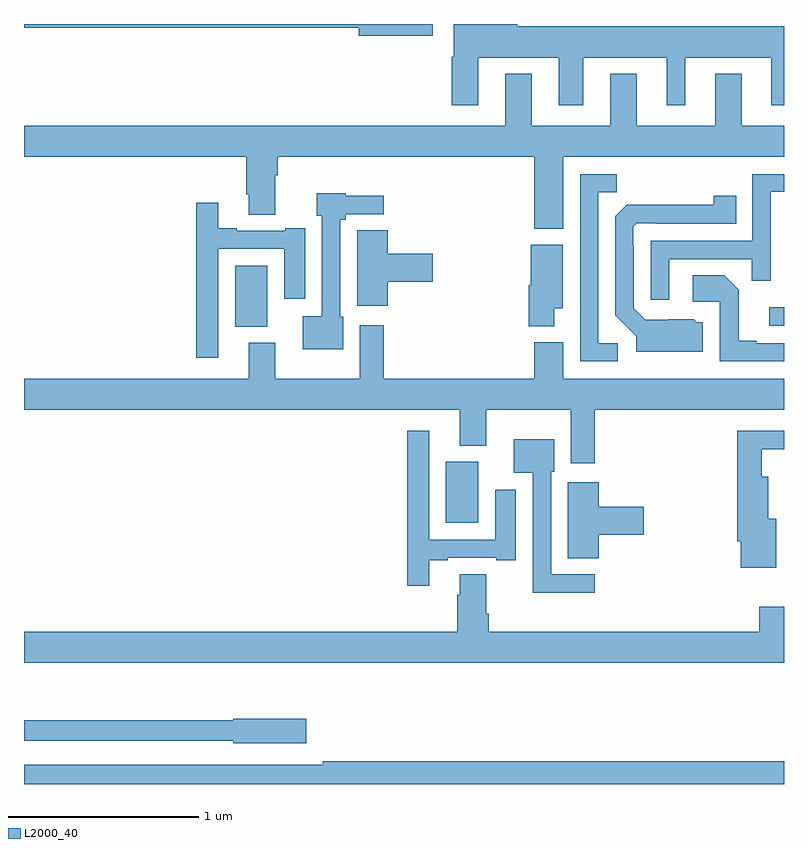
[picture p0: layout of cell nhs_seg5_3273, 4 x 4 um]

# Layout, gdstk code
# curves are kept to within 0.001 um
import gdstk
lib = gdstk.Library(unit=1e-6, precision=1e-09)
def R(c, l, rs):  # rectangles x0, y0, x1, y1
    for r in rs: c.add(gdstk.rectangle(r[:2], r[2:], *l))
def P(c, l, *ps):  # polygons
    for p in ps: c.add(gdstk.Polygon(p, *l))
L2000_40 = (2000, 40)

nhs_seg5_3273 = lib.new_cell('nhs_seg5_3273')
R(nhs_seg5_3273, L2000_40, [(303.221,848.174,303.391,848.494), (302.111,849.206,302.281,849.526), (304.923,849.21,305,849.307)])
P(nhs_seg5_3273, L2000_40, [(303.151,850.799),(301,850.799),(301,850.78),(302.762,850.78),(302.762,850.738),(303.151,850.738)],
  [(303.391,850.622),(303.815,850.622),(303.815,850.371),(303.943,850.371),(303.943,850.622),(304.382,850.622),(304.382,850.371),(304.48,850.371),(304.48,850.622),(304.934,850.622),(304.934,850.371),(305,850.371),(305,850.786),(303.595,850.786),(303.595,850.799),(303.263,850.799),(303.263,850.626),(303.251,850.626),(303.251,850.371),(303.391,850.371)],
  [(303.838,850.1),(305,850.1),(305,850.264),(304.777,850.264),(304.777,850.537),(304.637,850.537),(304.637,850.264),(304.225,850.264),(304.225,850.537),(304.085,850.537),(304.085,850.264),(303.673,850.264),(303.673,850.537),(303.533,850.537),(303.533,850.264),(301,850.264),(301,850.1),(302.171,850.1),(302.171,849.904),(302.183,849.904),(302.183,849.796),(302.323,849.796),(302.323,850.004),(302.336,850.004),(302.336,850.1),(303.686,850.1),(303.686,849.722),(303.838,849.722)],
  [(304.395,849.561),(304.831,849.561),(304.831,849.448),(304.929,849.448),(304.929,849.915),(305,849.915),(305,850.008),(304.833,850.008),(304.833,849.657),(304.299,849.657),(304.299,849.348),(304.395,849.348)],
  [(304.126,849.12),(304.023,849.12),(304.023,849.913),(304.119,849.913),(304.119,850.008),(303.927,850.008),(303.927,849.024),(304.126,849.024)],
  [(302.68,849.258),(302.664,849.258),(302.664,849.77),(302.694,849.77),(302.694,849.798),(302.893,849.798),(302.893,849.896),(302.694,849.896),(302.694,849.907),(302.54,849.907),(302.54,849.789),(302.568,849.789),(302.568,849.262),(302.468,849.262),(302.468,849.086),(302.68,849.086)],
  [(304.573,849.228),(304.542,849.228),(304.526,849.244),(304.269,849.243),(304.209,849.303),(304.209,849.632),(304.206,849.632),(304.206,849.732),(304.224,849.75),(304.324,849.75),(304.324,849.747),(304.748,849.747),(304.748,849.895),(304.63,849.895),(304.63,849.848),(304.172,849.847),(304.113,849.788),(304.113,849.266),(304.223,849.156),(304.223,849.074),(304.573,849.074)],
  [(302.022,849.615),(302.369,849.615),(302.369,849.354),(302.479,849.354),(302.479,849.724),(302.375,849.724),(302.375,849.711),(302.119,849.711),(302.119,849.724),(302.023,849.724),(302.023,849.859),(301.906,849.859),(301.906,849.042),(302.022,849.042)],
  [(302.915,849.443),(303.151,849.443),(303.151,849.59),(302.915,849.59),(302.915,849.713),(302.753,849.713),(302.753,849.315),(302.915,849.315)],
  [(303.79,849.302),(303.835,849.302),(303.835,849.637),(303.668,849.637),(303.668,849.423),(303.656,849.423),(303.656,849.209),(303.79,849.209)],
  [(305,849.12),(304.855,849.12),(304.855,849.133),(304.761,849.133),(304.761,849.4),(304.685,849.476),(304.521,849.476),(304.521,849.336),(304.662,849.336),(304.662,849.024),(305,849.024)],
  [(304.004,848.768),(305,848.768),(305,848.932),(303.838,848.932),(303.838,849.124),(303.686,849.124),(303.686,848.932),(302.894,848.932),(302.894,849.214),(302.768,849.214),(302.768,848.932),(302.323,848.932),(302.323,849.121),(302.183,849.121),(302.183,848.932),(301,848.932),(301,848.768),(303.293,848.768),(303.293,848.579),(303.433,848.579),(303.433,848.768),(303.878,848.768),(303.878,848.487),(304.004,848.487)],
  [(303.133,847.977),(303.229,847.977),(303.229,847.989),(303.485,847.989),(303.485,847.977),(303.589,847.977),(303.589,848.347),(303.479,848.347),(303.479,848.085),(303.132,848.085),(303.132,848.659),(303.016,848.659),(303.016,847.842),(303.133,847.842)],
  [(304.96,848.194),(304.918,848.194),(304.918,848.416),(304.882,848.416),(304.882,848.561),(305,848.561),(305,848.658),(304.753,848.658),(304.753,848.076),(304.772,848.076),(304.772,847.937),(304.96,847.937)],
  [(304.003,847.902),(303.774,847.902),(303.774,848.442),(303.79,848.442),(303.79,848.614),(303.578,848.614),(303.578,848.438),(303.678,848.438),(303.678,847.805),(304.003,847.805)],
  [(304.025,848.111),(304.261,848.111),(304.261,848.258),(304.025,848.258),(304.025,848.386),(303.863,848.386),(303.863,847.987),(304.025,847.987)],
  [(305,847.732),(304.871,847.732),(304.871,847.6),(303.446,847.6),(303.446,847.696),(303.433,847.696),(303.433,847.904),(303.293,847.904),(303.293,847.796),(303.281,847.796),(303.281,847.6),(301,847.6),(301,847.436),(305,847.436)],
  [(302.485,847.143),(302.1,847.143),(302.1,847.135),(301,847.135),(301,847.026),(302.1,847.026),(302.1,847.013),(302.485,847.013)],
  [(305,846.92),(302.572,846.92),(302.572,846.9),(301,846.9),(301,846.799),(305,846.799)])

lib.write_gds('nhs_seg5_3273.gds')
